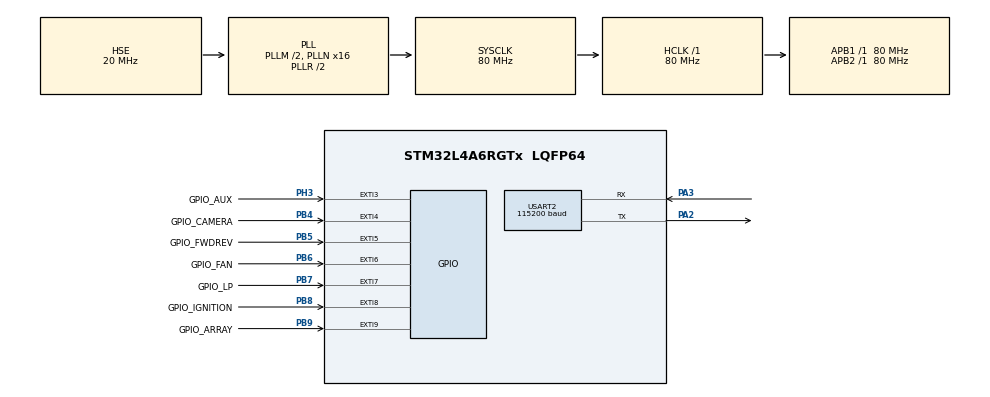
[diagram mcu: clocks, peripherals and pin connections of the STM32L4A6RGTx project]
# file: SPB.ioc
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FREERTOS.Tasks01=defaultTask,0,128,StartDefaultTask,Default,NULL
Mcu.Family=STM32L4
Mcu.Name=STM32L4A6RGTx
Mcu.Package=LQFP64
NVIC.EXTI3_IRQn=true\:5\:0\:false\:false\:true\:true\:true\:true
NVIC.EXTI4_IRQn=true\:5\:0\:false\:false\:true\:true\:true\:true
NVIC.EXTI9_5_IRQn=true\:5\:0\:false\:false\:true\:true\:true\:true
NVIC.PriorityGroup=NVIC_PRIORITYGROUP_4
NVIC.TIM6_DAC_IRQn=true\:0\:0\:false\:false\:true\:false\:false\:true
NVIC.TimeBase=TIM6_DAC_IRQn
NVIC.TimeBaseIP=TIM6
NVIC.USART2_IRQn=true\:5\:0\:false\:false\:true\:true\:true\:true
PA13\ (JTMS/SWDIO).Mode=Serial_Wire
PA13\ (JTMS/SWDIO).Signal=SYS_JTMS-SWDIO
PA14\ (JTCK/SWCLK).Mode=Serial_Wire
PA14\ (JTCK/SWCLK).Signal=SYS_JTCK-SWCLK
PA2.Mode=Asynchronous
PA2.Signal=USART2_TX
PA3.Mode=Asynchronous
PA3.Signal=USART2_RX
PB4\ (NJTRST).GPIO_Label=GPIO_CAMERA
PB4\ (NJTRST).Signal=GPXTI4
PB5.GPIO_Label=GPIO_FWDREV
PB5.Signal=GPXTI5
PB6.GPIO_Label=GPIO_FAN
PB6.Signal=GPXTI6
PB7.GPIO_Label=GPIO_LP
PB7.Signal=GPXTI7
PB8.GPIO_Label=GPIO_IGNITION
PB8.Signal=GPXTI8
PB9.GPIO_Label=GPIO_ARRAY
PB9.Signal=GPXTI9
PH0-OSC_IN\ (PH0).Mode=HSE-External-Oscillator
PH0-OSC_IN\ (PH0).Signal=RCC_OSC_IN
PH1-OSC_OUT\ (PH1).Mode=HSE-External-Oscillator
PH1-OSC_OUT\ (PH1).Signal=RCC_OSC_OUT
PH3-BOOT0.GPIO_Label=GPIO_AUX
PH3-BOOT0.Signal=GPXTI3
ProjectManager.HeapSize=0x200
ProjectManager.StackSize=0x400
ProjectManager.TargetToolchain=TrueSTUDIO
RCC.ADCFreq_Value=40000000
RCC.AHBFreq_Value=80000000
RCC.APB1Freq_Value=80000000
RCC.APB1TimFreq_Value=80000000
RCC.APB2Freq_Value=80000000
RCC.APB2TimFreq_Value=80000000
RCC.CortexFreq_Value=80000000
RCC.HCLKFreq_Value=80000000
RCC.HSE_VALUE=20000000
RCC.HSI48_VALUE=48000000
RCC.HSI_VALUE=16000000
RCC.LSE_VALUE=32768
RCC.MSI_VALUE=4000000
RCC.PLLM=2
RCC.PLLN=16
RCC.PLLSourceVirtual=RCC_PLLSOURCE_HSE
RCC.SYSCLKFreq_VALUE=80000000
RCC.SYSCLKSource=RCC_SYSCLKSOURCE_PLLCLK
RCC.USBFreq_Value=40000000
RCC.VCOOutputFreq_Value=160000000
USART2.BaudRate=115200
USART2.VirtualMode-Asynchronous=VM_ASYNC
VP_FREERTOS_VS_CMSIS_V1.Mode=CMSIS_V1
VP_SYS_VS_tim6.Mode=TIM6
board=custom

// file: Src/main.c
/* USER CODE BEGIN Header */
/**
  ******************************************************************************
  * @file           : main.c
  * @brief          : Main program body
  ******************************************************************************
  * @attention
  *
  * <h2><center>&copy; Copyright (c) 2019 STMicroelectronics.
  * All rights reserved.</center></h2>
  *
  * This software component is licensed by ST under Ultimate Liberty license
  * SLA0044, the "License\r\n"; You may not use this file except in compliance with
  * the License. You may obtain a copy of the License at:
  *                             www.st.com/SLA0044
  *
  ******************************************************************************
  */
/* USER CODE END Header */

#include "main.h"
#include "cmsis_os.h"

/* USER CODE BEGIN Includes */
#include "BSSR_GPIO.h"
#include <string.h>
#include <stdio.h>
#include <stdlib.h>
/* USER CODE END Includes */

UART_HandleTypeDef huart2;

osThreadId defaultTaskHandle;

void SystemClock_Config(void);
static void MX_GPIO_Init(void);
static void MX_USART2_UART_Init(void);
void StartDefaultTask(void const * argument);

int main(void)
{

  /* MCU Configuration--------------------------------------------------------*/

  /* Reset of all peripherals, Initializes the Flash interface and the Systick. */
  HAL_Init();

  /* Configure the system clock */
  SystemClock_Config();

  /* Initialize all configured peripherals */
  MX_GPIO_Init();
  MX_USART2_UART_Init();

  /* Create the thread(s) */
  /* definition and creation of defaultTask */
  osThreadDef(defaultTask, StartDefaultTask, osPriorityNormal, 0, 128);
  defaultTaskHandle = osThreadCreate(osThread(defaultTask), NULL);

  /* Start scheduler */
  osKernelStart();

  /* We should never get here as control is now taken by the scheduler */

  /* Infinite loop */
  while (1)
  {

  }
}

void SystemClock_Config(void)
{
  RCC_OscInitTypeDef RCC_OscInitStruct = {0};
  RCC_ClkInitTypeDef RCC_ClkInitStruct = {0};
  RCC_PeriphCLKInitTypeDef PeriphClkInit = {0};

  /** Initializes the CPU, AHB and APB busses clocks
  */
  RCC_OscInitStruct.OscillatorType = RCC_OSCILLATORTYPE_HSE;
  RCC_OscInitStruct.HSEState = RCC_HSE_ON;
  RCC_OscInitStruct.PLL.PLLState = RCC_PLL_ON;
  RCC_OscInitStruct.PLL.PLLSource = RCC_PLLSOURCE_HSE;
  RCC_OscInitStruct.PLL.PLLM = 2;
  RCC_OscInitStruct.PLL.PLLN = 16;
  RCC_OscInitStruct.PLL.PLLP = RCC_PLLP_DIV2;
  RCC_OscInitStruct.PLL.PLLQ = RCC_PLLQ_DIV2;
  RCC_OscInitStruct.PLL.PLLR = RCC_PLLR_DIV2;
  if (HAL_RCC_OscConfig(&RCC_OscInitStruct) != HAL_OK)
  {
    Error_Handler();
  }
  /** Initializes the CPU, AHB and APB busses clocks
  */
  RCC_ClkInitStruct.ClockType = RCC_CLOCKTYPE_HCLK|RCC_CLOCKTYPE_SYSCLK
                              |RCC_CLOCKTYPE_PCLK1|RCC_CLOCKTYPE_PCLK2;
  RCC_ClkInitStruct.SYSCLKSource = RCC_SYSCLKSOURCE_PLLCLK;
  RCC_ClkInitStruct.AHBCLKDivider = RCC_SYSCLK_DIV1;
  RCC_ClkInitStruct.APB1CLKDivider = RCC_HCLK_DIV1;
  RCC_ClkInitStruct.APB2CLKDivider = RCC_HCLK_DIV1;

  if (HAL_RCC_ClockConfig(&RCC_ClkInitStruct, FLASH_LATENCY_4) != HAL_OK)
  {
    Error_Handler();
  }
  PeriphClkInit.PeriphClockSelection = RCC_PERIPHCLK_USART2;
  PeriphClkInit.Usart2ClockSelection = RCC_USART2CLKSOURCE_PCLK1;
  if (HAL_RCCEx_PeriphCLKConfig(&PeriphClkInit) != HAL_OK)
  {
    Error_Handler();
  }
  /** Configure the main internal regulator output voltage
  */
  if (HAL_PWREx_ControlVoltageScaling(PWR_REGULATOR_VOLTAGE_SCALE1) != HAL_OK)
  {
    Error_Handler();
  }
}

static void MX_USART2_UART_Init(void)
{

  huart2.Instance = USART2;
  huart2.Init.BaudRate = 115200;
  huart2.Init.WordLength = UART_WORDLENGTH_8B;
  huart2.Init.StopBits = UART_STOPBITS_1;
  huart2.Init.Parity = UART_PARITY_NONE;
  huart2.Init.Mode = UART_MODE_TX_RX;
  huart2.Init.HwFlowCtl = UART_HWCONTROL_NONE;
  huart2.Init.OverSampling = UART_OVERSAMPLING_16;
  huart2.Init.OneBitSampling = UART_ONE_BIT_SAMPLE_DISABLE;
  huart2.AdvancedInit.AdvFeatureInit = UART_ADVFEATURE_NO_INIT;
  if (HAL_UART_Init(&huart2) != HAL_OK)
  {
    Error_Handler();
  }

}

static void MX_GPIO_Init(void)
{
  GPIO_InitTypeDef GPIO_InitStruct = {0};

  /* GPIO Ports Clock Enable */
  __HAL_RCC_GPIOH_CLK_ENABLE();
  __HAL_RCC_GPIOA_CLK_ENABLE();
  __HAL_RCC_GPIOB_CLK_ENABLE();

  /*Configure GPIO pins : GPIO_CAMERA_Pin GPIO_FWDREV_Pin GPIO_FAN_Pin GPIO_LP_Pin
                           GPIO_IGNITION_Pin GPIO_ARRAY_Pin */
  GPIO_InitStruct.Pin = GPIO_CAMERA_Pin|GPIO_FWDREV_Pin|GPIO_FAN_Pin|GPIO_LP_Pin
                          |GPIO_IGNITION_Pin|GPIO_ARRAY_Pin;
  GPIO_InitStruct.Mode = GPIO_MODE_IT_RISING;
  GPIO_InitStruct.Pull = GPIO_NOPULL;
  HAL_GPIO_Init(GPIOB, &GPIO_InitStruct);

  /*Configure GPIO pin : GPIO_AUX_Pin */
  GPIO_InitStruct.Pin = GPIO_AUX_Pin;
  GPIO_InitStruct.Mode = GPIO_MODE_IT_RISING;
  GPIO_InitStruct.Pull = GPIO_NOPULL;
  HAL_GPIO_Init(GPIO_AUX_GPIO_Port, &GPIO_InitStruct);

  /* EXTI interrupt init*/
  HAL_NVIC_SetPriority(EXTI3_IRQn, 5, 0);
  HAL_NVIC_EnableIRQ(EXTI3_IRQn);

  HAL_NVIC_SetPriority(EXTI4_IRQn, 5, 0);
  HAL_NVIC_EnableIRQ(EXTI4_IRQn);

  HAL_NVIC_SetPriority(EXTI9_5_IRQn, 5, 0);
  HAL_NVIC_EnableIRQ(EXTI9_5_IRQn);

}

/* USER CODE BEGIN 4 */
void PIN_TEST(uint16_t GPIO_Pin) {
  char buffer[100];
  if (GPIO_Pin & GPIO_AUX_Pin) {
    sprintf(buffer, "AUX Pressed!\r\n");
    HAL_UART_Transmit(&huart2, buffer, strlen(buffer), 100);
  }

  if (GPIO_Pin & GPIO_CAMERA_Pin) {
    sprintf(buffer, "GPIO_CAMERA_Pin Pressed!\r\n");
    HAL_UART_Transmit(&huart2, buffer, strlen(buffer), 100);
  }

  if (GPIO_Pin & GPIO_FWDREV_Pin) {
    sprintf(buffer, "GPIO_FWDREV_Pin Pressed!\r\n");
    HAL_UART_Transmit(&huart2, buffer, strlen(buffer), 100);
  }

  if (GPIO_Pin & GPIO_FAN_Pin) {
    sprintf(buffer, "GPIO_FAN_Pin Pressed!\r\n");
    HAL_UART_Transmit(&huart2, buffer, strlen(buffer), 100);
  }

  if (GPIO_Pin & GPIO_LP_Pin) {
    sprintf(buffer, "GPIO_LP_Pin Pressed!\r\n");
    HAL_UART_Transmit(&huart2, buffer, strlen(buffer), 100);
  }

  if (GPIO_Pin & GPIO_IGNITION_Pin) {
    sprintf(buffer, "GPIO_IGNITION_Pin Pressed!\r\n");
    HAL_UART_Transmit(&huart2, buffer, strlen(buffer), 100);
  }

  if (GPIO_Pin & GPIO_ARRAY_Pin) {
    sprintf(buffer, "GPIO_ARRAY_Pin Pressed!\r\n");
    HAL_UART_Transmit(&huart2, buffer, strlen(buffer), 100);
  }

}
/* USER CODE END 4 */

void StartDefaultTask(void const * argument)
{

  /* USER CODE BEGIN 5 */
  char buffer[100] = "Start MCU\r\n";
  HAL_UART_Transmit(&huart2, buffer, strlen(buffer), 100);
  BSSR_GPIO_IT_Set(GPIO_AUX_Pin, PIN_TEST);
  BSSR_GPIO_IT_Set(GPIO_CAMERA_Pin, PIN_TEST);
  BSSR_GPIO_IT_Set(GPIO_FWDREV_Pin, PIN_TEST);
  BSSR_GPIO_IT_Set(GPIO_FAN_Pin, PIN_TEST);
  BSSR_GPIO_IT_Set(GPIO_LP_Pin, PIN_TEST);
  BSSR_GPIO_IT_Set(GPIO_IGNITION_Pin, PIN_TEST);
  BSSR_GPIO_IT_Set(GPIO_ARRAY_Pin, PIN_TEST);

  /* Infinite loop */
  for(;;)
  {
    // status check
    // if (HAL_GPIO_ReadPin())
    osDelay(1000);
  }
  /* USER CODE END 5 */
}

void HAL_TIM_PeriodElapsedCallback(TIM_HandleTypeDef *htim)
{
  if (htim->Instance == TIM6) {
    HAL_IncTick();
  }
}

void Error_Handler(void)
{
}

/************************ (C) COPYRIGHT STMicroelectronics *****END OF FILE****/
